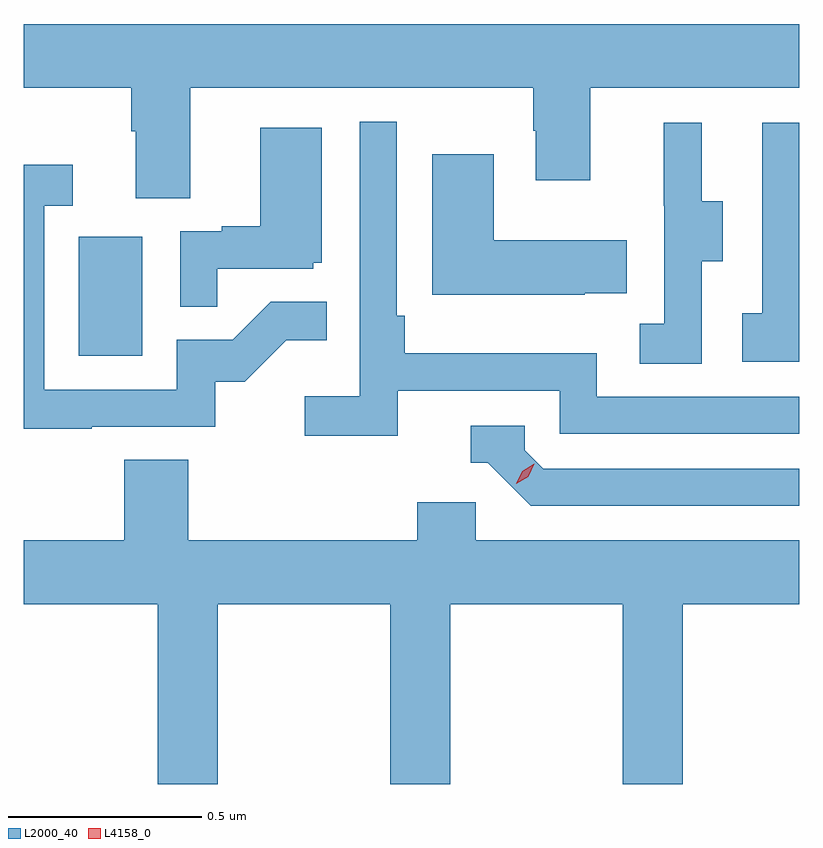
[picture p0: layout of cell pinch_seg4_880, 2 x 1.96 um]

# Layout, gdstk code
import gdstk
lib = gdstk.Library(unit=1e-6, precision=1e-09)
def R(c, l, rs):  # rectangles x0, y0, x1, y1
    for r in rs: c.add(gdstk.rectangle(r[:2], r[2:], *l))
def P(c, l, *ps):  # polygons
    for p in ps: c.add(gdstk.Polygon(p, *l))
L2000_40 = (2000, 40)
L4158_0 = (4158, 0)

pinch_seg4_880 = lib.new_cell('pinch_seg4_880')
R(pinch_seg4_880, L2000_40, [(851.3,797.46,851.464,797.767)])
P(pinch_seg4_880, L2000_40, [(851.587,798.152),(852.472,798.152),(852.472,798.041),(852.479,798.041),(852.479,797.913),(852.619,797.913),(852.619,798.152),(853.158,798.152),(853.158,798.316),(851.158,798.316),(851.158,798.152),(851.435,798.152),(851.435,798.04),(851.447,798.04),(851.447,797.866),(851.587,797.866)],
  [(852.122,797.37),(852.54,797.37),(852.54,797.259),(853.158,797.259),(853.158,797.355),(852.636,797.355),(852.636,797.467),(852.14,797.467),(852.14,797.563),(852.12,797.563),(852.12,798.064),(852.024,798.064),(852.024,797.356),(851.883,797.356),(851.883,797.254),(852.122,797.254)],
  [(853.158,798.061),(853.062,798.061),(853.062,797.57),(853.011,797.57),(853.011,797.445),(853.158,797.445)],
  [(852.906,797.704),(852.961,797.704),(852.961,797.859),(852.907,797.859),(852.907,798.061),(852.809,798.061),(852.809,797.847),(852.81,797.847),(852.81,797.543),(852.747,797.543),(852.747,797.44),(852.906,797.44)],
  [(851.657,797.685),(851.904,797.685),(851.904,797.7),(851.926,797.7),(851.926,798.049),(851.768,798.049),(851.768,797.794),(851.669,797.794),(851.669,797.781),(851.562,797.781),(851.562,797.587),(851.657,797.587)],
  [(852.605,797.621),(852.713,797.621),(852.713,797.758),(852.37,797.758),(852.37,797.98),(852.212,797.98),(852.212,797.618),(852.605,797.618)],
  [(851.333,797.277),(851.652,797.277),(851.652,797.394),(851.728,797.394),(851.835,797.501),(851.939,797.501),(851.939,797.6),(851.795,797.6),(851.697,797.502),(851.553,797.502),(851.553,797.373),(851.211,797.373),(851.211,797.847),(851.284,797.847),(851.284,797.953),(851.158,797.953),(851.158,797.272),(851.333,797.272)],
  [(853.158,797.169),(852.498,797.169),(852.45,797.217),(852.45,797.28),(852.311,797.28),(852.311,797.184),(852.354,797.184),(852.465,797.073),(853.158,797.073)],
  [(851.658,796.82),(852.103,796.82),(852.103,796.356),(852.258,796.356),(852.258,796.82),(852.703,796.82),(852.703,796.356),(852.858,796.356),(852.858,796.82),(853.158,796.82),(853.158,796.984),(852.324,796.984),(852.324,797.082),(852.173,797.082),(852.173,796.984),(851.582,796.984),(851.582,797.192),(851.417,797.192),(851.417,796.984),(851.158,796.984),(851.158,796.82),(851.503,796.82),(851.503,796.356),(851.658,796.356)])
P(pinch_seg4_880, L4158_0, [(852.428,797.13),(852.428,797.13),(852.444,797.163),(852.475,797.182),(852.475,797.182),(852.475,797.182),(852.459,797.149),(852.428,797.13)])

lib.write_gds('pinch_seg4_880.gds')
